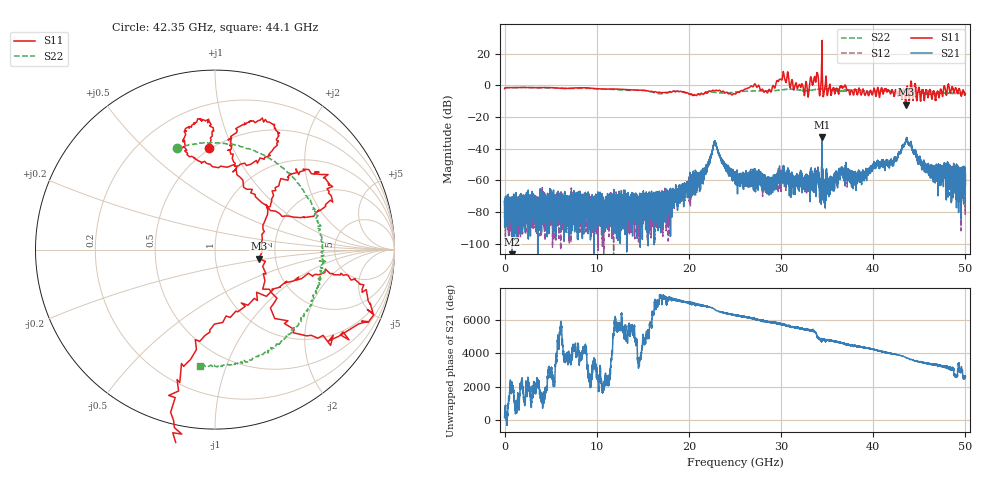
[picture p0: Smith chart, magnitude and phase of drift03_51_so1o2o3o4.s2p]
!Created with skrf (http://scikit-rf.org).
# Hz S RI R 50.0
!freq ReS11 ImS11 ReS21 ImS21 ReS12 ImS12 ReS22 ImS22
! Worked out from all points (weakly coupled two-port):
!   10000 points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, 5.3 MHz to 50 GHz, reference 50 ohm
!   highest |S21| = -32.85 dB at 34.43 GHz (marker M1); lowest = -111.0 dB at 790.3 MHz (marker M2)
!   lowest |S11| = -12.1 dB at 43.53 GHz (marker M3), VSWR 1.66, Z = 81.6 - j8.84 ohm
!   |S11| at or under -10 dB: 43.4838 GHz to 43.55294 GHz (69.14 MHz wide, 0.159 % of centre)
!   |S22| runs from -5.9 to -1.3 dB; largest |S21 - S12| = 0.013
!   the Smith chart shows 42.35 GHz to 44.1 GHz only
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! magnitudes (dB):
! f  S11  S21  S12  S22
! 5.3 MHz  -2.1  -76.0  -72.4  -2.1
! 790.3 MHz  -1.4  -111.0  -77.9  -1.5
! 8.34 GHz  -1.5  -74.1  -79.6  -1.9
! 16.67 GHz  -4.4  -69.8  -78.2  -5.2
! 21.38 GHz  -5.1  -55.3  -55.1  -5.0
! 22.81 GHz  -3.5  -35.3  -35.3  -4.4
! 23.87 GHz  -4.6  -49.9  -49.4  -4.9
! 25.01 GHz  -5.5  -58.0  -57.8  -4.3
! 27.02 GHz  -0.4  -58.8  -58.8  -3.5
! 28.84 GHz  -3.6  -62.1  -65.2  -3.5
! 30.14 GHz  4.4  -53.5  -53.8  -2.8
! 32.74 GHz  2.0  -61.4  -60.9  -3.3
! 33.34 GHz  2.6  -58.9  -57.8  -2.9
! 33.82 GHz  4.0  -57.7  -58.8  -2.5
! 34.43 GHz  28.4  -32.9  -39.3  -2.3
! 35.41 GHz  -5.5  -64.2  -64.5  -2.8
! 36.82 GHz  -0.8  -58.4  -56.9  -3.2
! 38.46 GHz  -1.6  -58.1  -55.5  -3.0
! 41.67 GHz  -2.9  -50.4  -50.3  -3.7
! 43.53 GHz  -12.1  -35.7  -35.3  -4.2
! 46.28 GHz  -5.6  -58.0  -51.9  -5.6
! 50 GHz  -5.2  -56.3  -60.3  -4.9
